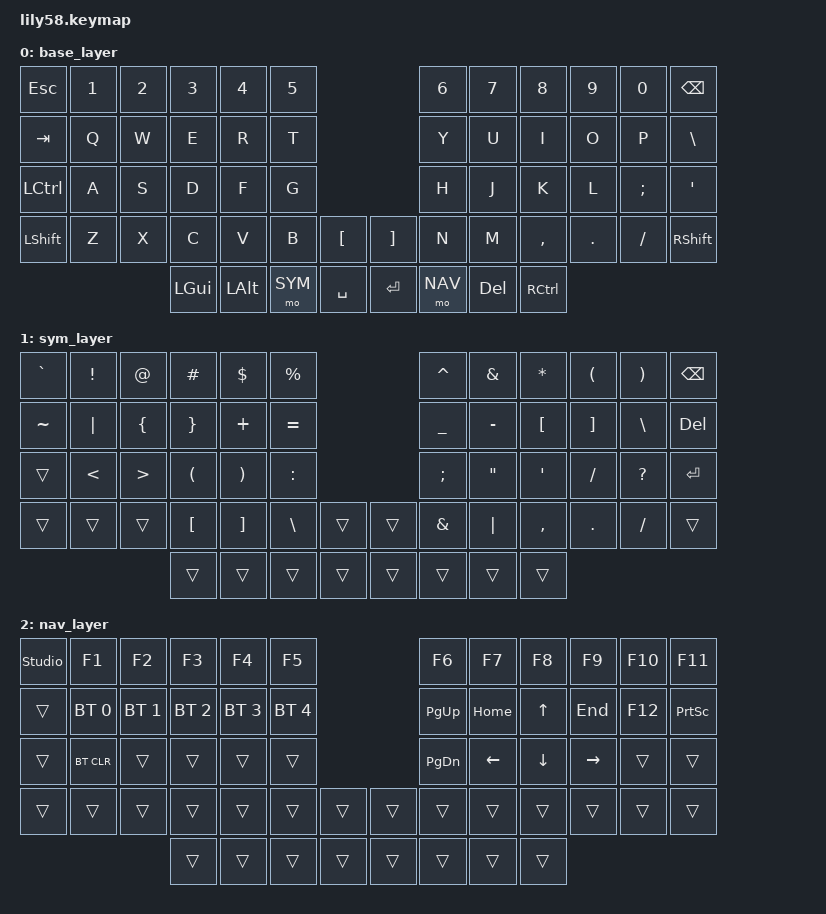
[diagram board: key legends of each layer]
/*
 * Lily58 / Allium58 programmer keymap
 * Base QWERTY + Symbol layer (left thumb) + Nav/Number layer (right thumb)
 * No home-row mods. Linux/Windows oriented (Ctrl-based).
 */

#include <behaviors.dtsi>
#include <dt-bindings/zmk/keys.h>
#include <dt-bindings/zmk/bt.h>

#define BASE 0
#define SYM  1
#define NAV  2

/ {
    keymap {
        compatible = "zmk,keymap";

        base_layer {
            bindings = <
&kp ESC    &kp N1  &kp N2  &kp N3    &kp N4    &kp N5                          &kp N6    &kp N7    &kp N8     &kp N9   &kp N0    &kp BSPC
&kp TAB    &kp Q   &kp W   &kp E     &kp R     &kp T                           &kp Y     &kp U     &kp I      &kp O    &kp P     &kp BSLH
&kp LCTRL  &kp A   &kp S   &kp D     &kp F     &kp G                           &kp H     &kp J     &kp K      &kp L    &kp SEMI  &kp SQT
&kp LSHFT  &kp Z   &kp X   &kp C     &kp V     &kp B   &kp LBKT     &kp RBKT    &kp N     &kp M     &kp COMMA  &kp DOT  &kp FSLH  &kp RSHFT
                           &kp LGUI  &kp LALT  &mo SYM    &kp SPACE  &kp ENTER  &mo NAV   &kp DEL   &kp RCTRL
            >;
        };

        sym_layer {
            bindings = <
&kp GRAVE  &kp EXCL   &kp AT     &kp HASH   &kp DOLLAR  &kp PRCNT                        &kp CARET  &kp AMPS   &kp STAR   &kp LPAR  &kp RPAR  &kp BSPC
&kp TILDE  &kp PIPE   &kp LBRC   &kp RBRC   &kp PLUS    &kp EQUAL                        &kp UNDER  &kp MINUS  &kp LBKT   &kp RBKT  &kp BSLH  &kp DEL
&trans  &kp LT     &kp GT     &kp LPAR   &kp RPAR    &kp COLON                        &kp SEMI   &kp DQT    &kp SQT    &kp FSLH  &kp QMARK &kp ENTER
&trans  &trans  &trans  &kp LBKT   &kp RBKT    &kp BSLH  &trans   &trans  &kp AMPS   &kp PIPE   &kp COMMA  &kp DOT   &kp FSLH  &trans
                                 &trans  &trans   &trans  &trans  &trans  &trans  &trans  &trans
            >;
        };

        nav_layer {
            bindings = <
&studio_unlock  &kp F1        &kp F2        &kp F3        &kp F4        &kp F5                               &kp F6     &kp F7    &kp F8    &kp F9     &kp F10    &kp F11
&trans       &bt BT_SEL 0  &bt BT_SEL 1  &bt BT_SEL 2  &bt BT_SEL 3  &bt BT_SEL 4                         &kp PG_UP  &kp HOME  &kp UP    &kp END    &kp F12    &kp PSCRN
&trans       &bt BT_CLR    &trans     &trans     &trans     &trans                            &kp PG_DN  &kp LEFT  &kp DOWN  &kp RIGHT  &trans  &trans
&trans       &trans     &trans     &trans     &trans     &trans   &trans    &trans    &trans  &trans &trans &trans  &trans  &trans
                                            &trans     &trans     &trans    &trans   &trans    &trans  &trans &trans
            >;
        };
    };
};
